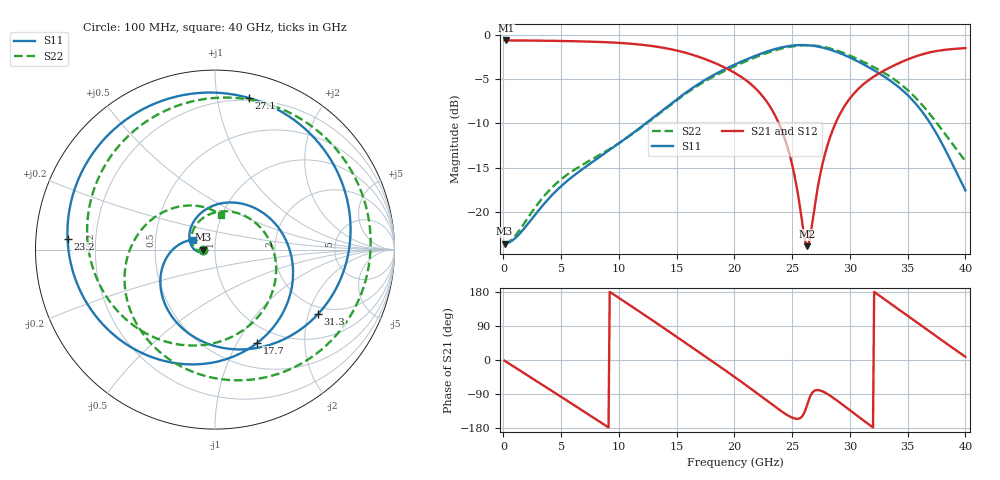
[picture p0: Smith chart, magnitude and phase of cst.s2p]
! B_ts6_L1L3_stub: ThunderScope stack: L1→In2, through via (stub to B.Cu)
! stackup: ThunderScope Rev5.3 6-layer (FR408HR / FR-4, from the board file)
! ports: 1, 2
! CST Studio Suite 2025.5 Release from 2025-05-30, time domain (FIT, hexahedral, PBA), 132000 mesh cells, 30 s
! mesh: {'lpw': 20, 'lpb': 20, 'minstep': 0.0, 'ratio': 20}; ports: port 1 (face); port 2 (face)
! interpolated from CST's 1001 samples to the case grid
# Hz S RI R 50
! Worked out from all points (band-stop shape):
!   400 points, 100 MHz to 40 GHz, reference 50 ohm
!   highest |S21| = -0.59 dB at 200 MHz (marker M1); lowest = -23.9 dB at 26.3 GHz (marker M2)
!   |S21| within 3 dB of the highest: start of sweep to 19.05 GHz; 33.56 GHz to end of sweep
!   lowest |S11| = -23.6 dB at 100 MHz (marker M3), VSWR 1.14, Z = 43.8 - j0.0805 ohm
!   |S11| at or under -10 dB: start of sweep to 12.31 GHz; 36.96 GHz to end of sweep
!   |S22| runs from -23.6 to -1.1 dB; largest |S21 - S12| = 0.00083
!   S11 on the Smith chart (normalised r, x): 100 MHz: 0.88, -0.00; 17.7 GHz: 0.79, -1.22; 23.2 GHz: 0.10, +0.04; 27.1 GHz: 0.18, +1.23; 31.3 GHz: 1.74, -2.31; 40 GHz: 0.78, +0.09
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1e8  -0.0658 -0.000914  0.9338 -0.0316  0.9337 -0.0316  -0.0659 -0.000955
2e8  -0.0659 -0.00183  0.9322 -0.0632  0.9321 -0.0632  -0.0661 -0.0019
1.8e9  -0.0794 -0.0125  0.7653 -0.5349  0.7654 -0.5349  -0.0855 -0.00902
3.7e9  -0.1143 -0.000153  0.2888 -0.8853  0.2888 -0.8853  -0.1236 0.0268
6.8e9  -0.14 0.1025  -0.6241 -0.6797  -0.6241 -0.6796  -0.0807 0.1649
9.9e9  -0.0199 0.2405  -0.8786 0.2221  -0.8787 0.2222  0.1364 0.2
1.18e10  0.1541 0.2551  -0.5368 0.7043  -0.5368 0.7044  0.2832 0.0847
1.34e10  0.322 0.1589  -0.0664 0.856  -0.0664 0.856  0.3407 -0.1015
1.58e10  0.4296 -0.1981  0.5682 0.5558  0.5682 0.5559  0.1812 -0.4309
1.77e10  0.2364 -0.519  0.7202 0.0561  0.7202 0.056  -0.1774 -0.5316
2.01e10  -0.3028 -0.615  0.4181 -0.4418  0.418 -0.4417  -0.6409 -0.1992
2.17e10  -0.6602 -0.3755  0.0708 -0.504  0.071 -0.504  -0.6918 0.2755
2.32e10  -0.8216 0.0589  -0.169 -0.3436  -0.169 -0.3437  -0.3885 0.71
2.47e10  -0.6624 0.5618  -0.1857 -0.1179  -0.1858 -0.1178  0.2006 0.8342
2.63e10  -0.1308 0.8683  -0.03 -0.0563  -0.0298 -0.0563  0.7573 0.4433
2.67e10  0.0305 0.8728  0.00268 -0.0828  0.00282 -0.0829  0.8285 0.284
2.71e10  0.1894 0.8448  0.0226 -0.122  0.0226 -0.1222  0.8635 0.1156
2.92e10  0.7338 0.2884  -0.1485 -0.332  -0.1487 -0.3319  0.5354 -0.6011
3.13e10  0.5738 -0.3595  -0.5111 -0.1619  -0.5108 -0.1621  -0.0864 -0.6943
3.34e10  0.078 -0.5527  -0.5738 0.3127  -0.5742 0.3128  -0.461 -0.3651
3.67e10  -0.3026 -0.1457  0.1435 0.7803  0.1436 0.7797  -0.3194 0.1913
4e10  -0.1199 0.0551  0.8363 0.1254  0.837 0.1257  0.0338 0.1906
